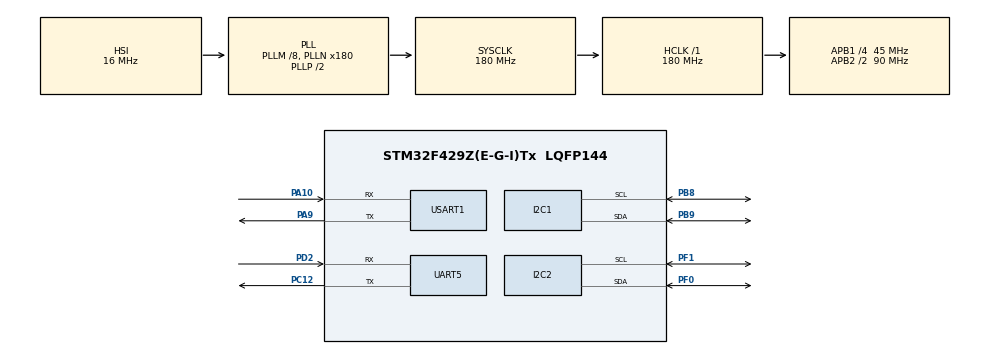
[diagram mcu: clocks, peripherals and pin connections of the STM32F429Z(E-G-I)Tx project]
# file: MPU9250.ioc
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Mcu.Family=STM32F4
Mcu.Name=STM32F429Z(E-G-I)Tx
Mcu.Package=LQFP144
NVIC.PriorityGroup=NVIC_PRIORITYGROUP_4
PA10.Mode=Asynchronous
PA10.Signal=USART1_RX
PA9.Mode=Asynchronous
PA9.Signal=USART1_TX
PB8.Mode=I2C
PB8.Signal=I2C1_SCL
PB9.Mode=I2C
PB9.Signal=I2C1_SDA
PC12.Mode=Asynchronous
PC12.Signal=UART5_TX
PD2.Mode=Asynchronous
PD2.Signal=UART5_RX
PF0.Mode=I2C
PF0.Signal=I2C2_SDA
PF1.Mode=I2C
PF1.Signal=I2C2_SCL
PH0/OSC_IN.Mode=HSE-External-Oscillator
PH0/OSC_IN.Signal=RCC_OSC_IN
PH1/OSC_OUT.Mode=HSE-External-Oscillator
PH1/OSC_OUT.Signal=RCC_OSC_OUT
ProjectManager.HeapSize=0x200
ProjectManager.StackSize=0x400
ProjectManager.TargetToolchain=MDK-ARM V5
RCC.48MHZClocksFreq_Value=90000000
RCC.AHBFreq_Value=180000000
RCC.APB1CLKDivider=RCC_HCLK_DIV4
RCC.APB1Freq_Value=45000000
RCC.APB1TimFreq_Value=90000000
RCC.APB2CLKDivider=RCC_HCLK_DIV2
RCC.APB2Freq_Value=90000000
RCC.APB2TimFreq_Value=180000000
RCC.CortexFreq_Value=180000000
RCC.HCLKFreq_Value=180000000
RCC.HSE_VALUE=25000000
RCC.HSI_VALUE=16000000
RCC.LSE_VALUE=32768
RCC.PLLM=8
RCC.PLLN=180
RCC.SYSCLKFreq_VALUE=180000000
RCC.SYSCLKSource=RCC_SYSCLKSOURCE_PLLCLK
RCC.VCOOutputFreq_Value=360000000
UART5.VirtualMode=Asynchronous
USART1.VirtualMode=VM_ASYNC
board=MPU9250

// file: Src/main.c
/**
  ******************************************************************************
  * File Name          : main.c
  * Description        : Main program body
  ******************************************************************************
  ** This notice applies to any and all portions of this file
  * that are not between comment pairs USER CODE BEGIN and
  * USER CODE END. Other portions of this file, whether
  * inserted by the user or by software development tools
  * are owned by their respective copyright owners.
  *
  * COPYRIGHT(c) 2017 STMicroelectronics
  *
  * Redistribution and use in source and binary forms, with or without modification,
  * are permitted provided that the following conditions are met:
  *   1. Redistributions of source code must retain the above copyright notice,
  *      this list of conditions and the following disclaimer.
  *   2. Redistributions in binary form must reproduce the above copyright notice,
  *      this list of conditions and the following disclaimer in the documentation
  *      and/or other materials provided with the distribution.
  *   3. Neither the name of STMicroelectronics nor the names of its contributors
  *      may be used to endorse or promote products derived from this software
  *      without specific prior written permission.
  *
  * THIS SOFTWARE IS PROVIDED BY THE COPYRIGHT HOLDERS AND CONTRIBUTORS "AS IS"
  * AND ANY EXPRESS OR IMPLIED WARRANTIES, INCLUDING, BUT NOT LIMITED TO, THE
  * IMPLIED WARRANTIES OF MERCHANTABILITY AND FITNESS FOR A PARTICULAR PURPOSE ARE
  * DISCLAIMED. IN NO EVENT SHALL THE COPYRIGHT HOLDER OR CONTRIBUTORS BE LIABLE
  * FOR ANY DIRECT, INDIRECT, INCIDENTAL, SPECIAL, EXEMPLARY, OR CONSEQUENTIAL
  * DAMAGES (INCLUDING, BUT NOT LIMITED TO, PROCUREMENT OF SUBSTITUTE GOODS OR
  * SERVICES; LOSS OF USE, DATA, OR PROFITS; OR BUSINESS INTERRUPTION) HOWEVER
  * CAUSED AND ON ANY THEORY OF LIABILITY, WHETHER IN CONTRACT, STRICT LIABILITY,
  * OR TORT (INCLUDING NEGLIGENCE OR OTHERWISE) ARISING IN ANY WAY OUT OF THE USE
  * OF THIS SOFTWARE, EVEN IF ADVISED OF THE POSSIBILITY OF SUCH DAMAGE.
  *
  ******************************************************************************
  */
#include "main.h"
#include "stm32f4xx_hal.h"

/* USER CODE BEGIN Includes */
#include "bmp180.h"
#include "MPU9250.h"

#define PCA9685_MODE1 0x00
/* USER CODE END Includes */

I2C_HandleTypeDef hi2c1;
I2C_HandleTypeDef hi2c2;

UART_HandleTypeDef huart5;
UART_HandleTypeDef huart1;

/* USER CODE BEGIN PV */
/* Private variables ---------------------------------------------------------*/
MPU9250_t MPU9250;
float filtered_Az;
/* USER CODE END PV */

void SystemClock_Config(void);
static void MX_GPIO_Init(void);
static void MX_I2C1_Init(void);
static void MX_UART5_Init(void);
static void MX_USART1_UART_Init(void);
static void MX_I2C2_Init(void);

/* USER CODE BEGIN PFP */
/* Private function prototypes -----------------------------------------------*/
/*	Redefine the "printf" and "scanf" function so we can transfer data by serial use printf function 	*/
#ifdef __GNUC__
  /* With GCC/RAISONANCE, small printf (option LD Linker->Libraries->Small printf
     set to 'Yes') calls __io_putchar() */
  #define PUTCHAR_PROTOTYPE int __io_putchar(int ch)
#else
  #define PUTCHAR_PROTOTYPE int fputc(int ch, FILE *f)
#endif /* __GNUC__ */
/**
  * @brief  Retargets the C library printf function to the USART.
  * @param  None
  * @retval None
  */
PUTCHAR_PROTOTYPE
{
  /* Place your implementation of fputc here */
  /* e.g. write a character to the EVAL_COM1 and Loop until the end of transmission */
  HAL_UART_Transmit(&huart1, (uint8_t *)&ch, 1, 2);

  return ch;
}

int fgetc(FILE *f)
{
	uint8_t  ch;
	HAL_UART_Receive(&huart1,(uint8_t *)&ch, 1, 2);
	return  ch;
}

/* USER CODE END PFP */

/* USER CODE BEGIN 0 */
void LPF_float(float *raw, float *filtered, float alpha)
{
	*filtered=(1.0-alpha)*(*filtered)+alpha*((*raw));
}
void LPF(int16_t *raw, float *filtered, float alpha)
{
	*filtered=(1.0-alpha)*(*filtered)+alpha*((*raw));
}

/* USER CODE END 0 */

int main(void)
{

  /* MCU Configuration----------------------------------------------------------*/

  /* Reset of all peripherals, Initializes the Flash interface and the Systick. */
  HAL_Init();

  /* Configure the system clock */
  SystemClock_Config();

  /* Initialize all configured peripherals */
  MX_GPIO_Init();
  MX_I2C1_Init();
  MX_UART5_Init();
  MX_USART1_UART_Init();
  MX_I2C2_Init();

  /* USER CODE BEGIN 2 */
	//pca9685_init(&hi2c1, 0x40);
	printf("Start\n");
	if (MPU9250_Init(&hi2c2, &MPU9250, MPU9250_Device_0) != MPU9250_Result_Ok) {
      printf("Device error!\r\n");
  }
  /* USER CODE END 2 */

  /* Infinite loop */
  /* USER CODE BEGIN WHILE */
	int i=100;
  while (1)
  {
		if (MPU9250_DataReady(&hi2c2, &MPU9250) == MPU9250_Result_Ok) {
				MPU9250_ReadAcce(&hi2c2, &MPU9250);
        MPU9250_ReadGyro(&hi2c2, &MPU9250);
        MPU9250_ReadMag(&hi2c2, &MPU9250);
		}

		LPF(&MPU9250.Az_Raw, &MPU9250.filtered_az, 0.05);
		printf("%d\t%f\n", MPU9250.Az_Raw, MPU9250.filtered_az);

		HAL_Delay(20);
  /* USER CODE END WHILE */

  }

}

/** System Clock Configuration
*/
void SystemClock_Config(void)
{

  RCC_OscInitTypeDef RCC_OscInitStruct;
  RCC_ClkInitTypeDef RCC_ClkInitStruct;

    /**Configure the main internal regulator output voltage
    */
  __HAL_RCC_PWR_CLK_ENABLE();

  __HAL_PWR_VOLTAGESCALING_CONFIG(PWR_REGULATOR_VOLTAGE_SCALE1);

    /**Initializes the CPU, AHB and APB busses clocks
    */
  RCC_OscInitStruct.OscillatorType = RCC_OSCILLATORTYPE_HSI;
  RCC_OscInitStruct.HSIState = RCC_HSI_ON;
  RCC_OscInitStruct.HSICalibrationValue = 16;
  RCC_OscInitStruct.PLL.PLLState = RCC_PLL_ON;
  RCC_OscInitStruct.PLL.PLLSource = RCC_PLLSOURCE_HSI;
  RCC_OscInitStruct.PLL.PLLM = 8;
  RCC_OscInitStruct.PLL.PLLN = 180;
  RCC_OscInitStruct.PLL.PLLP = RCC_PLLP_DIV2;
  RCC_OscInitStruct.PLL.PLLQ = 4;
  if (HAL_RCC_OscConfig(&RCC_OscInitStruct) != HAL_OK)
  {
    _Error_Handler(__FILE__, __LINE__);
  }

    /**Activate the Over-Drive mode
    */
  if (HAL_PWREx_EnableOverDrive() != HAL_OK)
  {
    _Error_Handler(__FILE__, __LINE__);
  }

    /**Initializes the CPU, AHB and APB busses clocks
    */
  RCC_ClkInitStruct.ClockType = RCC_CLOCKTYPE_HCLK|RCC_CLOCKTYPE_SYSCLK
                              |RCC_CLOCKTYPE_PCLK1|RCC_CLOCKTYPE_PCLK2;
  RCC_ClkInitStruct.SYSCLKSource = RCC_SYSCLKSOURCE_PLLCLK;
  RCC_ClkInitStruct.AHBCLKDivider = RCC_SYSCLK_DIV1;
  RCC_ClkInitStruct.APB1CLKDivider = RCC_HCLK_DIV4;
  RCC_ClkInitStruct.APB2CLKDivider = RCC_HCLK_DIV2;

  if (HAL_RCC_ClockConfig(&RCC_ClkInitStruct, FLASH_LATENCY_5) != HAL_OK)
  {
    _Error_Handler(__FILE__, __LINE__);
  }

    /**Configure the Systick interrupt time
    */
  HAL_SYSTICK_Config(HAL_RCC_GetHCLKFreq()/1000);

    /**Configure the Systick
    */
  HAL_SYSTICK_CLKSourceConfig(SYSTICK_CLKSOURCE_HCLK);

  /* SysTick_IRQn interrupt configuration */
  HAL_NVIC_SetPriority(SysTick_IRQn, 0, 0);
}

/* I2C1 init function */
static void MX_I2C1_Init(void)
{

  hi2c1.Instance = I2C1;
  hi2c1.Init.ClockSpeed = 100000;
  hi2c1.Init.DutyCycle = I2C_DUTYCYCLE_2;
  hi2c1.Init.OwnAddress1 = 0;
  hi2c1.Init.AddressingMode = I2C_ADDRESSINGMODE_7BIT;
  hi2c1.Init.DualAddressMode = I2C_DUALADDRESS_DISABLE;
  hi2c1.Init.OwnAddress2 = 0;
  hi2c1.Init.GeneralCallMode = I2C_GENERALCALL_DISABLE;
  hi2c1.Init.NoStretchMode = I2C_NOSTRETCH_DISABLE;
  if (HAL_I2C_Init(&hi2c1) != HAL_OK)
  {
    _Error_Handler(__FILE__, __LINE__);
  }

}

/* I2C2 init function */
static void MX_I2C2_Init(void)
{

  hi2c2.Instance = I2C2;
  hi2c2.Init.ClockSpeed = 100000;
  hi2c2.Init.DutyCycle = I2C_DUTYCYCLE_2;
  hi2c2.Init.OwnAddress1 = 0;
  hi2c2.Init.AddressingMode = I2C_ADDRESSINGMODE_7BIT;
  hi2c2.Init.DualAddressMode = I2C_DUALADDRESS_DISABLE;
  hi2c2.Init.OwnAddress2 = 0;
  hi2c2.Init.GeneralCallMode = I2C_GENERALCALL_DISABLE;
  hi2c2.Init.NoStretchMode = I2C_NOSTRETCH_DISABLE;
  if (HAL_I2C_Init(&hi2c2) != HAL_OK)
  {
    _Error_Handler(__FILE__, __LINE__);
  }

}

/* UART5 init function */
static void MX_UART5_Init(void)
{

  huart5.Instance = UART5;
  huart5.Init.BaudRate = 115200;
  huart5.Init.WordLength = UART_WORDLENGTH_8B;
  huart5.Init.StopBits = UART_STOPBITS_1;
  huart5.Init.Parity = UART_PARITY_NONE;
  huart5.Init.Mode = UART_MODE_TX_RX;
  huart5.Init.HwFlowCtl = UART_HWCONTROL_NONE;
  huart5.Init.OverSampling = UART_OVERSAMPLING_16;
  if (HAL_UART_Init(&huart5) != HAL_OK)
  {
    _Error_Handler(__FILE__, __LINE__);
  }

}

/* USART1 init function */
static void MX_USART1_UART_Init(void)
{

  huart1.Instance = USART1;
  huart1.Init.BaudRate = 115200;
  huart1.Init.WordLength = UART_WORDLENGTH_8B;
  huart1.Init.StopBits = UART_STOPBITS_1;
  huart1.Init.Parity = UART_PARITY_NONE;
  huart1.Init.Mode = UART_MODE_TX_RX;
  huart1.Init.HwFlowCtl = UART_HWCONTROL_NONE;
  huart1.Init.OverSampling = UART_OVERSAMPLING_16;
  if (HAL_UART_Init(&huart1) != HAL_OK)
  {
    _Error_Handler(__FILE__, __LINE__);
  }

}

/** Configure pins as
        * Analog
        * Input
        * Output
        * EVENT_OUT
        * EXTI
*/
static void MX_GPIO_Init(void)
{

  /* GPIO Ports Clock Enable */
  __HAL_RCC_GPIOF_CLK_ENABLE();
  __HAL_RCC_GPIOH_CLK_ENABLE();
  __HAL_RCC_GPIOA_CLK_ENABLE();
  __HAL_RCC_GPIOC_CLK_ENABLE();
  __HAL_RCC_GPIOD_CLK_ENABLE();
  __HAL_RCC_GPIOB_CLK_ENABLE();

}

/* USER CODE BEGIN 4 */
void pca9685_init(I2C_HandleTypeDef *hi2c, uint8_t address)
{

  uint8_t initStruct[2];
	//uint8_t initStruct2[2];
 uint8_t prescale = 15; // hardcoded
 HAL_I2C_Master_Transmit(hi2c, address, PCA9685_MODE1, 1, 1);
 uint8_t oldmode = 0; // hardcoded
 // HAL_I2C_Master_Receive(hi2c, address, &oldmode, 1, 1);
 uint8_t newmode = ((oldmode & 0x7F) | 0x10);
 initStruct[0] = PCA9685_MODE1;
	//initStruct2[0] = 0xFE;
 initStruct[1] = newmode;
 HAL_I2C_Master_Transmit(hi2c, address, initStruct, 2, 1);

 initStruct[0] = 0xFE;
 initStruct[1] = prescale;
	//initStruct2[1] = prescale;
 HAL_I2C_Master_Transmit(hi2c, address, initStruct, 2, 1);
	//HAL_I2C_Master_Transmit(hi2c, address, initStruct2, 2, 1);
 initStruct[0] = PCA9685_MODE1;
 initStruct[1] = oldmode;
 HAL_I2C_Master_Transmit(hi2c, address, initStruct, 2, 1);
 HAL_Delay(5);
 initStruct[1] = (oldmode | 0xA1);
 HAL_I2C_Master_Transmit(hi2c, address, initStruct, 2, 1);
}

void pca9685_pwm(I2C_HandleTypeDef *hi2c, uint8_t address, uint8_t num, uint16_t on, uint16_t off)
{
 uint8_t outputBuffer[5] = {0x06 + 4*num, on, (on >> 8), off, (off >> 8)};
 HAL_I2C_Master_Transmit(&hi2c1, address, outputBuffer, 5, 1);
}
/* USER CODE END 4 */

void _Error_Handler(char * file, int line)
{
  while(1)
  {
  }
}

/************************ (C) COPYRIGHT STMicroelectronics *****END OF FILE****/
